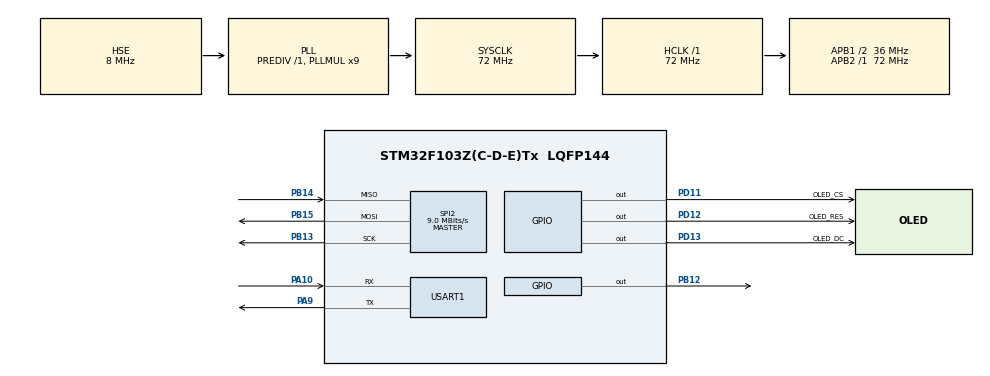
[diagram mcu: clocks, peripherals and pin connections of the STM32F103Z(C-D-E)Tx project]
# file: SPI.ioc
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Dma.Request0=SPI2_RX
Dma.Request1=SPI2_TX
Dma.SPI2_RX.0.Direction=DMA_PERIPH_TO_MEMORY
Dma.SPI2_RX.0.Instance=DMA1_Channel4
Dma.SPI2_RX.0.MemDataAlignment=DMA_MDATAALIGN_BYTE
Dma.SPI2_RX.0.MemInc=DMA_MINC_ENABLE
Dma.SPI2_RX.0.Mode=DMA_NORMAL
Dma.SPI2_RX.0.PeriphDataAlignment=DMA_PDATAALIGN_BYTE
Dma.SPI2_RX.0.PeriphInc=DMA_PINC_DISABLE
Dma.SPI2_RX.0.Priority=DMA_PRIORITY_LOW
Dma.SPI2_TX.1.Direction=DMA_MEMORY_TO_PERIPH
Dma.SPI2_TX.1.Instance=DMA1_Channel5
Dma.SPI2_TX.1.MemDataAlignment=DMA_MDATAALIGN_BYTE
Dma.SPI2_TX.1.MemInc=DMA_MINC_ENABLE
Dma.SPI2_TX.1.Mode=DMA_NORMAL
Dma.SPI2_TX.1.PeriphDataAlignment=DMA_PDATAALIGN_BYTE
Dma.SPI2_TX.1.PeriphInc=DMA_PINC_DISABLE
Dma.SPI2_TX.1.Priority=DMA_PRIORITY_HIGH
Mcu.Family=STM32F1
Mcu.Name=STM32F103Z(C-D-E)Tx
Mcu.Package=LQFP144
NVIC.DMA1_Channel4_IRQn=true\:0\:0\:false\:false\:true\:false\:true\:true
NVIC.DMA1_Channel5_IRQn=true\:0\:0\:false\:false\:true\:false\:true\:true
NVIC.PriorityGroup=NVIC_PRIORITYGROUP_4
OSC_IN.Mode=HSE-External-Oscillator
OSC_IN.Signal=RCC_OSC_IN
OSC_OUT.Mode=HSE-External-Oscillator
OSC_OUT.Signal=RCC_OSC_OUT
PA10.Mode=Asynchronous
PA10.Signal=USART1_RX
PA9.Mode=Asynchronous
PA9.Signal=USART1_TX
PB12.PinState=GPIO_PIN_SET
PB12.Signal=GPIO_Output
PB13.Mode=Full_Duplex_Master
PB13.Signal=SPI2_SCK
PB14.Mode=Full_Duplex_Master
PB14.Signal=SPI2_MISO
PB15.Mode=Full_Duplex_Master
PB15.Signal=SPI2_MOSI
PD11.GPIO_Label=OLED_CS
PD11.GPIO_Speed=GPIO_SPEED_FREQ_HIGH
PD11.Signal=GPIO_Output
PD12.GPIO_Label=OLED_RES
PD12.GPIO_Speed=GPIO_SPEED_FREQ_HIGH
PD12.Signal=GPIO_Output
PD13.GPIO_Label=OLED_DC
PD13.GPIO_Speed=GPIO_SPEED_FREQ_HIGH
PD13.Signal=GPIO_Output
ProjectManager.HeapSize=0x200
ProjectManager.StackSize=0x400
ProjectManager.TargetToolchain=STM32CubeIDE
RCC.AHBFreq_Value=72000000
RCC.APB1CLKDivider=RCC_HCLK_DIV2
RCC.APB1Freq_Value=36000000
RCC.APB1TimFreq_Value=72000000
RCC.APB2Freq_Value=72000000
RCC.APB2TimFreq_Value=72000000
RCC.HCLKFreq_Value=72000000
RCC.PLLMUL=RCC_PLL_MUL9
RCC.PLLSourceVirtual=RCC_PLLSOURCE_HSE
RCC.SYSCLKFreq_VALUE=72000000
RCC.SYSCLKSource=RCC_SYSCLKSOURCE_PLLCLK
RCC.USBFreq_Value=72000000
SPI2.BaudRatePrescaler=SPI_BAUDRATEPRESCALER_4
SPI2.CRCCalculation=SPI_CRCCALCULATION_DISABLE
SPI2.CalculateBaudRate=9.0 MBits/s
SPI2.Direction=SPI_DIRECTION_2LINES
SPI2.Mode=SPI_MODE_MASTER
SPI2.VirtualType=VM_MASTER
USART1.VirtualMode=VM_ASYNC
VP_SYS_VS_ND.Mode=No_Debug
board=custom

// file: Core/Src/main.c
/* USER CODE BEGIN Header */
/**
  ******************************************************************************
  * @file           : main.c
  * @brief          : Main program body
  ******************************************************************************
  * @attention
  *
  * Copyright (c) 2023 STMicroelectronics.
  * All rights reserved.
  *
  * This software is licensed under terms that can be found in the LICENSE file
  * in the root directory of this software component.
  * If no LICENSE file comes with this software, it is provided AS-IS.
  *
  ******************************************************************************
  */
/* USER CODE END Header */
#include "main.h"
#include "dma.h"
#include "spi.h"
#include "usart.h"
#include "gpio.h"

/* USER CODE BEGIN Includes */
#include "stdio.h"
#include "oled.h"
/* USER CODE END Includes */

/* USER CODE BEGIN PD */
#ifdef __GNUC__
#define PUTCHAR_PROTOTYPE int __io_putchar(int ch)
#else
#define PUTCHAR_PROTOTYPE int fputc(int ch, FILE *f)
#endif

PUTCHAR_PROTOTYPE {
    HAL_UART_Transmit(&huart1, (uint8_t *) &ch, 1, 0xFFFF);
    return ch;
}
/* USER CODE END PD */

/* USER CODE BEGIN PV */
unsigned char BMP1[] =
{
    0x00,0x03,0x05,0x09,0x11,0xFF,0x11,0x89,0x05,0xC3,0x00,0xE0,0x00,0xF0,0x00,0xF8,
    0x00,0x00,0x00,0x00,0x00,0x00,0x00,0x44,0x28,0xFF,0x11,0xAA,0x44,0x00,0x00,0x00,
    0x00,0x00,0x00,0x00,0x00,0x00,0x00,0x00,0x00,0x00,0x00,0x00,0x00,0x00,0x00,0x00,
    0x00,0x00,0x00,0x00,0x00,0x00,0x00,0x00,0x00,0x00,0x00,0x00,0x00,0x00,0x00,0x00,
    0x00,0x00,0x00,0x00,0x00,0x00,0x00,0x00,0x00,0x00,0x00,0x00,0x00,0x00,0x00,0x00,
    0x00,0x00,0x00,0x00,0x00,0x00,0x00,0x00,0x00,0x00,0x83,0x01,0x38,0x44,0x82,0x92,
    0x92,0x74,0x01,0x83,0x00,0x00,0x00,0x00,0x00,0x00,0x00,0x7C,0x44,0xFF,0x01,0x7D,
    0x7D,0x7D,0x01,0x7D,0x7D,0x7D,0x7D,0x01,0x7D,0x7D,0x7D,0x7D,0x7D,0x01,0xFF,0x00,
    0x00,0x00,0x00,0x00,0x00,0x01,0x00,0x01,0x00,0x01,0x00,0x01,0x00,0x01,0x00,0x01,
    0x00,0x00,0x00,0x00,0x00,0x00,0x00,0x00,0x00,0x01,0x01,0x00,0x00,0x00,0x00,0x00,
    0x00,0x00,0x00,0x00,0x00,0x00,0x00,0x00,0x00,0x00,0x00,0x00,0x00,0x00,0x00,0x00,
    0x00,0x00,0x00,0x00,0x00,0x00,0x00,0x00,0x00,0x00,0x00,0x00,0x00,0x00,0x00,0x00,
    0x00,0x00,0x00,0x00,0x00,0x00,0x00,0x00,0x00,0x00,0x00,0x00,0x00,0x00,0x00,0x00,
    0x00,0x00,0x00,0x00,0x00,0x00,0x00,0x00,0x00,0x00,0x01,0x01,0x00,0x00,0x00,0x00,
    0x00,0x00,0x01,0x01,0x00,0x00,0x00,0x00,0x00,0x00,0x00,0x00,0x00,0x01,0x01,0x01,
    0x01,0x01,0x01,0x01,0x01,0x01,0x01,0x01,0x01,0x01,0x01,0x01,0x01,0x01,0x01,0x00,
    0x00,0x00,0x00,0x00,0x00,0x00,0x00,0x00,0x00,0x00,0x00,0x00,0x00,0x00,0x00,0x00,
    0x00,0x00,0x00,0x00,0x00,0x00,0x00,0x00,0x00,0x00,0x00,0x00,0x3F,0x3F,0x03,0x03,
    0xF3,0x13,0x11,0x11,0x11,0x11,0x11,0x11,0x01,0xF1,0x11,0x61,0x81,0x01,0x01,0x01,
    0x81,0x61,0x11,0xF1,0x01,0x01,0x01,0x01,0x41,0x41,0xF1,0x01,0x01,0x01,0x01,0x01,
    0xC1,0x21,0x11,0x11,0x11,0x11,0x21,0xC1,0x01,0x01,0x01,0x01,0x41,0x41,0xF1,0x01,
    0x01,0x01,0x01,0x01,0x01,0x01,0x01,0x01,0x01,0x11,0x11,0x11,0x11,0x11,0xD3,0x33,
    0x03,0x03,0x3F,0x3F,0x00,0x00,0x00,0x00,0x00,0x00,0x00,0x00,0x00,0x00,0x00,0x00,
    0x00,0x00,0x00,0x00,0x00,0x00,0x00,0x00,0x00,0x00,0x00,0x00,0x00,0x00,0x00,0x00,
    0x00,0x00,0x00,0x00,0x00,0x00,0x00,0x00,0x00,0x00,0x00,0x00,0x00,0x00,0x00,0x00,
    0x00,0x00,0x00,0x00,0x00,0x00,0x00,0x00,0x00,0x00,0x00,0x00,0xE0,0xE0,0x00,0x00,
    0x7F,0x01,0x01,0x01,0x01,0x01,0x01,0x00,0x00,0x7F,0x00,0x00,0x01,0x06,0x18,0x06,
    0x01,0x00,0x00,0x7F,0x00,0x00,0x00,0x00,0x40,0x40,0x7F,0x40,0x40,0x00,0x00,0x00,
    0x1F,0x20,0x40,0x40,0x40,0x40,0x20,0x1F,0x00,0x00,0x00,0x00,0x40,0x40,0x7F,0x40,
    0x40,0x00,0x00,0x00,0x00,0x60,0x00,0x00,0x00,0x00,0x40,0x30,0x0C,0x03,0x00,0x00,
    0x00,0x00,0xE0,0xE0,0x00,0x00,0x00,0x00,0x00,0x00,0x00,0x00,0x00,0x00,0x00,0x00,
    0x00,0x00,0x00,0x00,0x00,0x00,0x00,0x00,0x00,0x00,0x00,0x00,0x00,0x00,0x00,0x00,
    0x00,0x00,0x00,0x00,0x00,0x00,0x00,0x00,0x00,0x00,0x00,0x00,0x00,0x00,0x00,0x00,
    0x00,0x00,0x00,0x00,0x00,0x00,0x00,0x00,0x00,0x00,0x00,0x00,0x07,0x07,0x06,0x06,
    0x06,0x06,0x04,0x04,0x04,0x84,0x44,0x44,0x44,0x84,0x04,0x04,0x84,0x44,0x44,0x44,
    0x84,0x04,0x04,0x04,0x84,0xC4,0x04,0x04,0x04,0x04,0x84,0x44,0x44,0x44,0x84,0x04,
    0x04,0x04,0x04,0x04,0x84,0x44,0x44,0x44,0x84,0x04,0x04,0x04,0x04,0x04,0x84,0x44,
    0x44,0x44,0x84,0x04,0x04,0x84,0x44,0x44,0x44,0x84,0x04,0x04,0x04,0x04,0x06,0x06,
    0x06,0x06,0x07,0x07,0x00,0x00,0x00,0x00,0x00,0x00,0x00,0x00,0x00,0x00,0x00,0x00,
    0x00,0x00,0x00,0x00,0x00,0x00,0x00,0x00,0x00,0x00,0x00,0x00,0x00,0x00,0x00,0x00,
    0x00,0x00,0x00,0x00,0x00,0x00,0x00,0x00,0x00,0x00,0x00,0x00,0x00,0x00,0x00,0x00,
    0x00,0x00,0x00,0x00,0x00,0x00,0x00,0x00,0x00,0x00,0x00,0x00,0x00,0x00,0x00,0x00,
    0x00,0x00,0x00,0x00,0x00,0x10,0x18,0x14,0x12,0x11,0x00,0x00,0x0F,0x10,0x10,0x10,
    0x0F,0x00,0x00,0x00,0x10,0x1F,0x10,0x00,0x00,0x00,0x08,0x10,0x12,0x12,0x0D,0x00,
    0x00,0x18,0x00,0x00,0x0D,0x12,0x12,0x12,0x0D,0x00,0x00,0x18,0x00,0x00,0x10,0x18,
    0x14,0x12,0x11,0x00,0x00,0x10,0x18,0x14,0x12,0x11,0x00,0x00,0x00,0x00,0x00,0x00,
    0x00,0x00,0x00,0x00,0x00,0x00,0x00,0x00,0x00,0x00,0x00,0x00,0x00,0x00,0x00,0x00,
    0x00,0x00,0x00,0x00,0x00,0x00,0x00,0x00,0x00,0x00,0x00,0x00,0x00,0x00,0x00,0x00,
    0x00,0x00,0x00,0x00,0x00,0x00,0x00,0x00,0x00,0x00,0x00,0x00,0x00,0x00,0x00,0x00,
    0x00,0x00,0x00,0x00,0x00,0x00,0x00,0x00,0x00,0x00,0x00,0x00,0x00,0x00,0x00,0x00,
    0x00,0x00,0x00,0x00,0x00,0x00,0x00,0x00,0x00,0x00,0x00,0x00,0x00,0x00,0x00,0x00,
    0x00,0x00,0x00,0x00,0x00,0x00,0x00,0x00,0x00,0x00,0x00,0x00,0x80,0x80,0x80,0x80,
    0x80,0x80,0x80,0x80,0x00,0x00,0x00,0x00,0x00,0x00,0x00,0x00,0x00,0x00,0x00,0x00,
    0x00,0x00,0x00,0x00,0x00,0x00,0x00,0x00,0x00,0x00,0x00,0x00,0x00,0x00,0x00,0x00,
    0x00,0x00,0x00,0x00,0x00,0x00,0x00,0x00,0x00,0x00,0x00,0x00,0x00,0x00,0x00,0x00,
    0x00,0x00,0x00,0x00,0x00,0x00,0x00,0x00,0x00,0x00,0x00,0x00,0x00,0x00,0x00,0x00,
    0x00,0x7F,0x03,0x0C,0x30,0x0C,0x03,0x7F,0x00,0x00,0x38,0x54,0x54,0x58,0x00,0x00,
    0x7C,0x04,0x04,0x78,0x00,0x00,0x3C,0x40,0x40,0x7C,0x00,0x00,0x00,0x00,0x00,0x00,
    0x00,0x00,0x00,0x00,0x00,0x00,0x00,0x00,0x00,0x00,0x00,0x00,0x00,0x00,0x00,0x00,
    0x00,0x00,0x00,0x00,0x00,0x00,0x00,0x00,0x00,0x00,0x00,0x00,0xFF,0xAA,0xAA,0xAA,
    0x28,0x08,0x00,0xFF,0x00,0x00,0x00,0x00,0x00,0x00,0x00,0x00,0x00,0x00,0x00,0x00,
    0x00,0x00,0x00,0x00,0x00,0x00,0x00,0x00,0x00,0x00,0x00,0x00,0x00,0x00,0x00,0x00,
    0x00,0x00,0x00,0x00,0x00,0x00,0x00,0x00,0x00,0x7F,0x03,0x0C,0x30,0x0C,0x03,0x7F,
    0x00,0x00,0x26,0x49,0x49,0x49,0x32,0x00,0x00,0x7F,0x02,0x04,0x08,0x10,0x7F,0x00,
};

unsigned char BMP2[] =
{
    0x00,0x03,0x05,0x09,0x11,0xFF,0x11,0x89,0x05,0xC3,0x00,0xE0,0x00,0xF0,0x00,0xF8,
    0x00,0x00,0x00,0x00,0x00,0x00,0x00,0x44,0x28,0xFF,0x11,0xAA,0x44,0x00,0x00,0x00,
    0x00,0x00,0x00,0x00,0x00,0x00,0x00,0x00,0x00,0x00,0x00,0x00,0x00,0x00,0x00,0x00,
    0x00,0x00,0x00,0x00,0x00,0x00,0x00,0x00,0x00,0x00,0x00,0x00,0x00,0x00,0x00,0x00,
    0x00,0x00,0x00,0x00,0x00,0x00,0x00,0x00,0x00,0x00,0x00,0x00,0x00,0x00,0x00,0x00,
    0x00,0x00,0x00,0x00,0x00,0x00,0x00,0x00,0x00,0x00,0x83,0x01,0x38,0x44,0x82,0x92,
    0x92,0x74,0x01,0x83,0x00,0x00,0x00,0x00,0x00,0x00,0x00,0x7C,0x44,0xFF,0x01,0x7D,
    0x7D,0x7D,0x7D,0x01,0x7D,0x7D,0x7D,0x7D,0x01,0x7D,0x7D,0x7D,0x7D,0x01,0xFF,0x00,
    0x00,0x00,0x00,0x00,0x00,0x01,0x00,0x01,0x00,0x01,0x00,0x01,0x00,0x01,0x00,0x01,
    0x00,0x00,0x00,0x00,0x00,0x00,0x00,0x00,0x00,0x01,0x01,0x00,0x00,0x00,0x00,0x00,
    0x00,0x00,0x00,0x00,0x00,0x00,0x00,0x00,0x00,0x00,0x00,0x00,0x00,0x00,0x00,0x00,
    0x00,0x00,0x00,0x00,0x00,0x00,0x00,0x00,0x00,0x00,0x00,0x00,0x00,0x00,0x00,0x00,
    0x00,0x00,0x00,0x00,0x00,0x00,0x00,0x00,0x00,0x00,0x00,0x00,0x00,0x00,0x00,0x00,
    0x00,0x00,0x00,0x00,0x00,0x00,0x00,0x00,0x00,0x00,0x01,0x01,0x00,0x00,0x00,0x00,
    0x00,0x00,0x01,0x01,0x00,0x00,0x00,0x00,0x00,0x00,0x00,0x00,0x00,0x01,0x01,0x01,
    0x01,0x01,0x01,0x01,0x01,0x01,0x01,0x01,0x01,0x01,0x01,0x01,0x01,0x01,0x01,0x00,
    0x00,0x00,0x00,0x00,0x00,0x00,0x00,0x00,0x00,0x00,0x00,0x00,0x00,0x00,0x00,0x00,
    0x00,0x00,0x00,0x00,0x00,0x00,0x00,0x00,0x00,0x00,0x00,0x00,0x00,0x00,0x00,0xF8,
    0x08,0x08,0x08,0x08,0x08,0x08,0x08,0x00,0xF8,0x18,0x60,0x80,0x00,0x00,0x00,0x80,
    0x60,0x18,0xF8,0x00,0x00,0x00,0x20,0x20,0xF8,0x00,0x00,0x00,0x00,0x00,0x00,0xE0,
    0x10,0x08,0x08,0x08,0x08,0x10,0xE0,0x00,0x00,0x00,0x20,0x20,0xF8,0x00,0x00,0x00,
    0x00,0x00,0x00,0x00,0x00,0x00,0x00,0x00,0x00,0x08,0x08,0x08,0x08,0x08,0x88,0x68,
    0x18,0x00,0x00,0x00,0x00,0x00,0x00,0x00,0x00,0x00,0x00,0x00,0x00,0x00,0x00,0x00,
    0x00,0x00,0x00,0x00,0x00,0x00,0x00,0x00,0x00,0x00,0x00,0x00,0x00,0x00,0x00,0x00,
    0x00,0x00,0x00,0x00,0x00,0x00,0x00,0x00,0x00,0x00,0x00,0x00,0x00,0x00,0x00,0x00,
    0x00,0x00,0x00,0x00,0x00,0x00,0x00,0x00,0x00,0x00,0x00,0x00,0x00,0x00,0x00,0x7F,
    0x01,0x01,0x01,0x01,0x01,0x01,0x00,0x00,0x7F,0x00,0x00,0x01,0x06,0x18,0x06,0x01,
    0x00,0x00,0x7F,0x00,0x00,0x00,0x40,0x40,0x7F,0x40,0x40,0x00,0x00,0x00,0x00,0x1F,
    0x20,0x40,0x40,0x40,0x40,0x20,0x1F,0x00,0x00,0x00,0x40,0x40,0x7F,0x40,0x40,0x00,
    0x00,0x00,0x00,0x00,0x60,0x00,0x00,0x00,0x00,0x00,0x00,0x60,0x18,0x06,0x01,0x00,
    0x00,0x00,0x00,0x00,0x00,0x00,0x00,0x00,0x00,0x00,0x00,0x00,0x00,0x00,0x00,0x00,
    0x00,0x00,0x00,0x00,0x00,0x00,0x00,0x00,0x00,0x00,0x00,0x00,0x00,0x00,0x00,0x00,
    0x00,0x00,0x00,0x00,0x00,0x00,0x00,0x00,0x00,0x00,0x00,0x00,0x00,0x00,0x00,0x00,
    0x00,0x00,0x00,0x00,0x00,0x00,0x00,0x00,0x00,0x00,0x00,0x00,0x00,0x00,0x00,0x00,
    0x00,0x00,0x00,0x00,0x00,0x40,0x20,0x20,0x20,0xC0,0x00,0x00,0xE0,0x20,0x20,0x20,
    0xE0,0x00,0x00,0x00,0x40,0xE0,0x00,0x00,0x00,0x00,0x60,0x20,0x20,0x20,0xE0,0x00,
    0x00,0x00,0x00,0x00,0xE0,0x20,0x20,0x20,0xE0,0x00,0x00,0x00,0x00,0x00,0x40,0x20,
    0x20,0x20,0xC0,0x00,0x00,0x40,0x20,0x20,0x20,0xC0,0x00,0x00,0x00,0x00,0x00,0x00,
    0x00,0x00,0x00,0x00,0x00,0x00,0x00,0x00,0x00,0x00,0x00,0x00,0x00,0x00,0x00,0x00,
    0x00,0x00,0x00,0x00,0x00,0x00,0x00,0x00,0x00,0x00,0x00,0x00,0x00,0x00,0x00,0x00,
    0x00,0x00,0x00,0x00,0x00,0x00,0x00,0x00,0x00,0x00,0x00,0x00,0x00,0x00,0x00,0x00,
    0x00,0x00,0x00,0x00,0x00,0x00,0x00,0x00,0x00,0x00,0x00,0x00,0x00,0x00,0x00,0x00,
    0x00,0x00,0x00,0x00,0x00,0x0C,0x0A,0x0A,0x09,0x0C,0x00,0x00,0x0F,0x08,0x08,0x08,
    0x0F,0x00,0x00,0x00,0x08,0x0F,0x08,0x00,0x00,0x00,0x0C,0x08,0x09,0x09,0x0E,0x00,
    0x00,0x0C,0x00,0x00,0x0F,0x09,0x09,0x09,0x0F,0x00,0x00,0x0C,0x00,0x00,0x0C,0x0A,
    0x0A,0x09,0x0C,0x00,0x00,0x0C,0x0A,0x0A,0x09,0x0C,0x00,0x00,0x00,0x00,0x00,0x00,
    0x00,0x00,0x00,0x00,0x00,0x00,0x00,0x00,0x00,0x00,0x00,0x00,0x00,0x00,0x00,0x00,
    0x00,0x00,0x00,0x00,0x00,0x00,0x00,0x00,0x00,0x00,0x00,0x00,0x00,0x00,0x00,0x00,
    0x00,0x00,0x00,0x00,0x00,0x00,0x00,0x00,0x00,0x00,0x00,0x00,0x00,0x00,0x00,0x00,
    0x00,0x00,0x00,0x00,0x00,0x00,0x00,0x00,0x00,0x00,0x00,0x00,0x00,0x00,0x00,0x00,
    0x00,0x00,0x00,0x00,0x00,0x00,0x00,0x00,0x00,0x00,0x00,0x00,0x00,0x00,0x00,0x00,
    0x00,0x00,0x00,0x00,0x00,0x00,0x00,0x00,0x00,0x00,0x00,0x00,0x80,0x80,0x80,0x80,
    0x80,0x80,0x80,0x80,0x00,0x00,0x00,0x00,0x00,0x00,0x00,0x00,0x00,0x00,0x00,0x00,
    0x00,0x00,0x00,0x00,0x00,0x00,0x00,0x00,0x00,0x00,0x00,0x00,0x00,0x00,0x00,0x00,
    0x00,0x00,0x00,0x00,0x00,0x00,0x00,0x00,0x00,0x00,0x00,0x00,0x00,0x00,0x00,0x00,
    0x00,0x00,0x00,0x00,0x00,0x00,0x00,0x00,0x00,0x00,0x00,0x00,0x00,0x00,0x00,0x00,
    0x00,0x7F,0x03,0x0C,0x30,0x0C,0x03,0x7F,0x00,0x00,0x38,0x54,0x54,0x58,0x00,0x00,
    0x7C,0x04,0x04,0x78,0x00,0x00,0x3C,0x40,0x40,0x7C,0x00,0x00,0x00,0x00,0x00,0x00,
    0x00,0x00,0x00,0x00,0x00,0x00,0x00,0x00,0x00,0x00,0x00,0x00,0x00,0x00,0x00,0x00,
    0x00,0x00,0x00,0x00,0x00,0x00,0x00,0x00,0x00,0x00,0x00,0x00,0xFF,0xAA,0xAA,0xAA,
    0x28,0x08,0x00,0xFF,0x00,0x00,0x00,0x00,0x00,0x00,0x00,0x00,0x00,0x00,0x00,0x00,
    0x00,0x00,0x00,0x00,0x00,0x00,0x00,0x00,0x00,0x00,0x00,0x00,0x00,0x00,0x00,0x00,
    0x00,0x00,0x00,0x00,0x00,0x00,0x00,0x00,0x00,0x7F,0x03,0x0C,0x30,0x0C,0x03,0x7F,
    0x00,0x00,0x26,0x49,0x49,0x49,0x32,0x00,0x00,0x7F,0x02,0x04,0x08,0x10,0x7F,0x00,
};
/* USER CODE END PV */

void SystemClock_Config(void);

int main(void)
{

  /* MCU Configuration--------------------------------------------------------*/

  /* Reset of all peripherals, Initializes the Flash interface and the Systick. */
  HAL_Init();

  /* Configure the system clock */
  SystemClock_Config();

  /* Initialize all configured peripherals */
  MX_GPIO_Init();
  MX_DMA_Init();
  MX_USART1_UART_Init();
  MX_SPI2_Init();
  /* USER CODE BEGIN 2 */
    uint8_t cmd[] = {0x90,0x00,0xFF};
    uint8_t data;
    uint16_t resiveid;
    printf("SPI测试例程\n");
    OLED_Init();
    OLED_ColorTurn(0);//0正常显示，1 反色显示
    OLED_DisplayTurn(0);//0正常显示 1 屏幕翻转显示
    uint8_t  t=' ';
  /* USER CODE END 2 */

  /* Infinite loop */
  /* USER CODE BEGIN WHILE */
  while (1)
  {
      OLED_ShowPicture(0,0,128,64,BMP2,1);
      OLED_Refresh();
      HAL_Delay(500);
      OLED_Clear();
      OLED_ShowChinese(0,0,0,16,1);//中
      OLED_ShowChinese(18,0,1,16,1);//景
      OLED_ShowChinese(36,0,2,16,1);//园
      OLED_ShowChinese(54,0,3,16,1);//电
      OLED_ShowChinese(72,0,4,16,1);//子
      OLED_ShowChinese(90,0,5,16,1);//技
      OLED_ShowChinese(108,0,6,16,1);//术
      OLED_ShowString(8,16,"ZHONGJINGYUAN",16,1);
      OLED_ShowString(20,32,"2014/05/01",16,1);
      OLED_ShowString(0,48,"ASCII:",16,1);
      OLED_ShowString(63,48,"CODE:",16,1);
      OLED_ShowChar(48,48,t,16,1);//显示ASCII字符
      t++;
      if(t>'~')t=' ';
      OLED_ShowNum(103,48,t,3,16,1);
      OLED_Refresh();
      HAL_Delay(500);
      OLED_Clear();
      OLED_ShowChinese(0,0,0,16,1);  //16*16 中
      OLED_ShowChinese(16,0,0,24,1); //24*24 中
      OLED_ShowChinese(24,20,0,32,1);//32*32 中
      OLED_ShowChinese(64,0,0,64,1); //64*64 中
      OLED_Refresh();
      HAL_Delay(500);
      OLED_Clear();
      OLED_ShowString(0,0,"ABC",8,1);//6*8 “ABC”
      OLED_ShowString(0,8,"ABC",12,1);//6*12 “ABC”
      OLED_ShowString(0,20,"ABC",16,1);//8*16 “ABC”
      OLED_ShowString(0,36,"ABC",24,1);//12*24 “ABC”
      OLED_Refresh();
      HAL_Delay(500);
      OLED_ScrollDisplay(11,4,1);
    /* USER CODE END WHILE */

  }
}

void SystemClock_Config(void)
{
  RCC_OscInitTypeDef RCC_OscInitStruct = {0};
  RCC_ClkInitTypeDef RCC_ClkInitStruct = {0};

  /** Initializes the RCC Oscillators according to the specified parameters
  * in the RCC_OscInitTypeDef structure.
  */
  RCC_OscInitStruct.OscillatorType = RCC_OSCILLATORTYPE_HSE;
  RCC_OscInitStruct.HSEState = RCC_HSE_ON;
  RCC_OscInitStruct.HSEPredivValue = RCC_HSE_PREDIV_DIV1;
  RCC_OscInitStruct.HSIState = RCC_HSI_ON;
  RCC_OscInitStruct.PLL.PLLState = RCC_PLL_ON;
  RCC_OscInitStruct.PLL.PLLSource = RCC_PLLSOURCE_HSE;
  RCC_OscInitStruct.PLL.PLLMUL = RCC_PLL_MUL9;
  if (HAL_RCC_OscConfig(&RCC_OscInitStruct) != HAL_OK)
  {
    Error_Handler();
  }

  /** Initializes the CPU, AHB and APB buses clocks
  */
  RCC_ClkInitStruct.ClockType = RCC_CLOCKTYPE_HCLK|RCC_CLOCKTYPE_SYSCLK
                              |RCC_CLOCKTYPE_PCLK1|RCC_CLOCKTYPE_PCLK2;
  RCC_ClkInitStruct.SYSCLKSource = RCC_SYSCLKSOURCE_PLLCLK;
  RCC_ClkInitStruct.AHBCLKDivider = RCC_SYSCLK_DIV1;
  RCC_ClkInitStruct.APB1CLKDivider = RCC_HCLK_DIV2;
  RCC_ClkInitStruct.APB2CLKDivider = RCC_HCLK_DIV1;

  if (HAL_RCC_ClockConfig(&RCC_ClkInitStruct, FLASH_LATENCY_2) != HAL_OK)
  {
    Error_Handler();
  }
}

void Error_Handler(void)
{
  __disable_irq();
  while (1)
  {
  }
}
